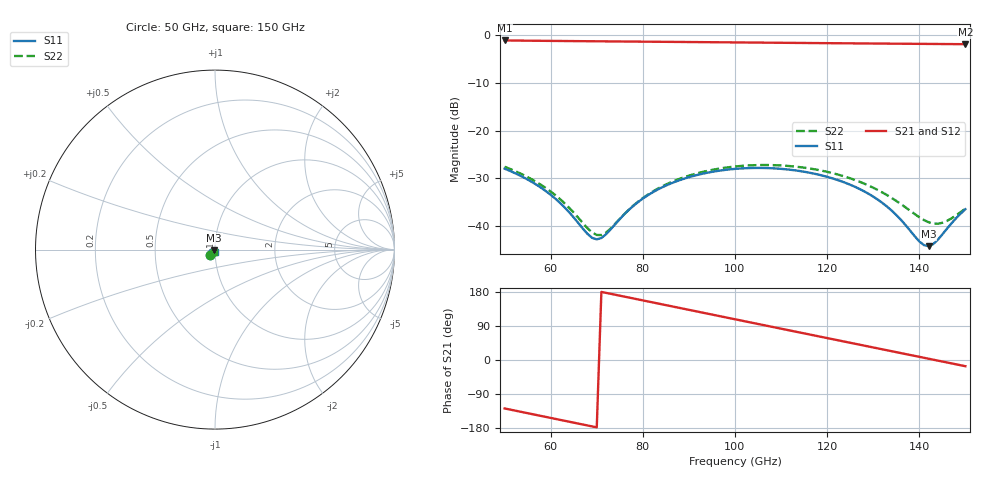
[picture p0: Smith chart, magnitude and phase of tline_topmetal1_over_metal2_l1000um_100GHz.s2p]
#  GHZ S DB R 50
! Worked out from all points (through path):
!   101 points, 50 GHz to 150 GHz, reference 50 ohm
!   highest |S21| = -1.10 dB at 50 GHz (marker M1); lowest = -1.9 dB at 150 GHz (marker M2)
!   group delay of S21, straight-line fit = 6.9 ps
!   lowest |S11| = -44.2 dB at 142 GHz (marker M3), VSWR 1.01, Z = 49.6 - j0.444 ohm
!   |S11| at or under -10 dB: start of sweep to end of sweep
!   |S22| runs from -41.9 to -27.2 dB; largest |S21 - S12| = 9.4e-14
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50  -27.98 -136.5  -1.10 -127.9  -1.10 -127.9  -27.58 -136.0
55  -30.25 -148.0  -1.15 -140.4  -1.15 -140.4  -29.74 -147.3
60  -33.45 -156.2  -1.19 -152.9  -1.19 -152.9  -32.77 -155.5
63  -36.07 -157.3  -1.22 -160.3  -1.22 -160.3  -35.21 -156.9
67  -40.56 -145.4  -1.25 -170.3  -1.25 -170.3  -39.39 -147.3
69  -42.48 -127.0  -1.26 -175.3  -1.26 -175.3  -41.35 -131.9
71  -42.51 -102.6  -1.28 179.7  -1.28 179.7  -41.88 -109.5
73  -40.71 -84.7  -1.30 174.7  -1.30 174.7  -40.54 -90.1
78  -35.72 -72.8  -1.33 162.3  -1.33 162.3  -35.66 -74.4
84  -31.97 -79.4  -1.38 147.3  -1.38 147.3  -31.77 -79.2
92  -29.25 -95.9  -1.44 127.4  -1.44 127.4  -28.89 -94.6
100  -28.02 -114.5  -1.51 107.5  -1.51 107.5  -27.52 -112.3
108  -27.89 -133.6  -1.57 87.6  -1.57 87.6  -27.23 -130.4
117  -28.98 -154.3  -1.64 65.3  -1.64 65.3  -28.06 -149.9
127  -32.22 -174.5  -1.72 40.5  -1.72 40.5  -30.70 -167.9
131  -34.47 -179.9  -1.75 30.6  -1.75 30.6  -32.45 -172.4
134  -36.76 178.8  -1.77 23.2  -1.77 23.2  -34.11 -173.4
140  -43.22 -158.1  -1.81 8.4  -1.81 8.4  -38.15 -161.5
142  -44.22 -133.3  -1.82 3.4  -1.82 3.4  -39.20 -150.4
143  -43.80 -120.4  -1.83 0.9  -1.83 0.9  -39.47 -143.6
145  -41.75 -102.0  -1.85 -4.0  -1.85 -4.0  -39.32 -129.5
150  -36.48 -89.6  -1.88 -16.4  -1.88 -16.4  -36.36 -107.6
